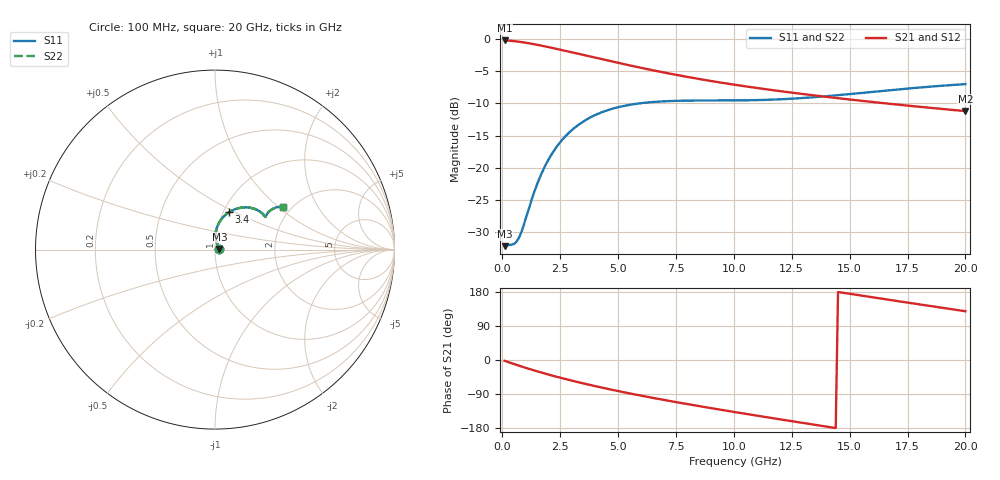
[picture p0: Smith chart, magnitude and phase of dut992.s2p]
! Touchstone file exported from HFSS 2024.1.0
!  File:  C:/UserFiles/LocalFiles/RDL_TSV_Batchsim/temp_RDL_TSV_992_1779975843.aedt
!  Generated:  09:57:55 PM May 28, 2026
!  Design:  RDL_TSV
!  Project:  temp_RDL_TSV_992_1779975843
!  Setup:  Setup1
!  Solution:  Sweep
! Variables:
!  dtsv = 14.44um
!  hbump = 3um
!  htsv = 67.48um
!  ldown = 288.25um
!  lrdl = 589.17um
!  p = 40
!  p1 = 53.81um
!  rhole = 10um
!  subl = 3221.43um
!  t = 450um
!  tdown = 2.88um
!  trdl = 3.17um
!  viad = 10um
!  wdown = 27.81um
!  wrdl = 12.41um
!  xbump = 18um
# GHz S MA R 50.000000
! Terminal data exported
! Port[1] = TM1_1_T1
! Port[2] = TM1_4_T1
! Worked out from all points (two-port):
!   200 points, 100 MHz to 20 GHz, reference 50 ohm
!   highest |S21| = -0.22 dB at 100 MHz (marker M1); lowest = -11.2 dB at 20 GHz (marker M2)
!   |S21| within 3 dB of the highest: start of sweep to 4.418 GHz
!   lowest |S11| = -32.1 dB at 100 MHz (marker M3), VSWR 1.05, Z = 52.5 + j0.327 ohm
!   |S11| at or under -10 dB: start of sweep to 5.886 GHz
!   |S22| runs from -32.1 to -7.0 dB; largest |S21 - S12| = 1.5e-14
!   S11 on the Smith chart (normalised r, x): 100 MHz: 1.05, +0.01; 3.4 GHz: 1.07, +0.47; 20 GHz: 1.81, +1.07
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0.1  0.02475 7.2  0.9748 -2.2  0.9748 -2.2  0.02475 7.2
! Gamma 0 0 0 0
! Port Impedance 50 0 50 0
0.5  0.02572 35.7  0.9635 -10.6  0.9635 -10.6  0.02572 35.7
0.7  0.02829 53.8  0.9542 -14.6  0.9542 -14.6  0.02829 53.8
0.9  0.03492 69.7  0.9432 -18.6  0.9432 -18.6  0.03492 69.8
1.4  0.06657 86.8  0.9101 -28.0  0.9101 -28.0  0.06659 86.8
1.7  0.09092 87.7  0.888 -33.3  0.888 -33.3  0.09093 87.7
2.1  0.125 84.9  0.8576 -40.2  0.8576 -40.2  0.125 84.9
2.5  0.1584 80.4  0.827 -46.7  0.827 -46.7  0.1584 80.4
2.9  0.1893 75.4  0.7967 -52.9  0.7967 -52.9  0.1893 75.4
3.4  0.2233 69.2  0.76 -60.3  0.76 -60.3  0.2233 69.2
3.5  0.2295 68.0  0.7528 -61.8  0.7528 -61.8  0.2295 68.0
4.2  0.2662 60.2  0.7045 -71.5  0.7045 -71.5  0.2661 60.2
5.1  0.2987 51.8  0.6477 -83.2  0.6477 -83.2  0.2987 51.7
5.9  0.3165 45.8  0.6027 -93.0  0.6027 -93.0  0.3164 45.8
6.8  0.3275 40.7  0.5582 -103.4  0.5582 -103.4  0.3274 40.6
8.4  0.3334 35.1  0.4934 -120.6  0.4934 -120.6  0.3333 35.0
10.1  0.3341 33.0  0.4402 -138.0  0.4402 -138.0  0.334 33.0
11.7  0.3391 33.3  0.4008 -153.7  0.4008 -153.7  0.3389 33.3
13.4  0.3532 34.5  0.3666 -170.1  0.3666 -170.1  0.3529 34.5
15  0.374 35.2  0.3396 174.7  0.3396 174.7  0.3737 35.2
16.7  0.4003 35.0  0.3149 158.9  0.3149 158.9  0.4 35.0
20  0.4469 32.1  0.2762 128.7  0.2762 128.7  0.4465 32.1
